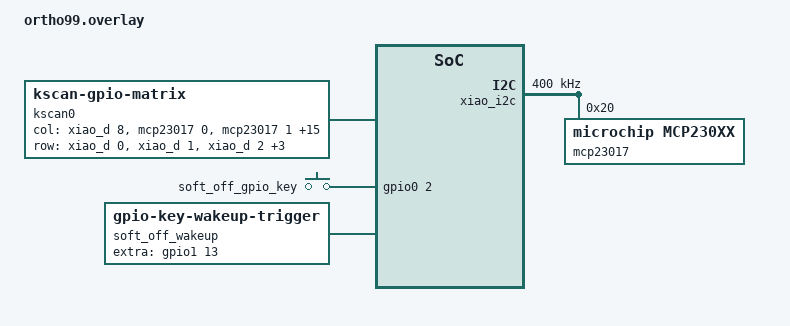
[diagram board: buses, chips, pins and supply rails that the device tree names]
#include <dt-bindings/zmk/matrix_transform.h>
#include <zephyr/dt-bindings/gpio/gpio.h>
#include <zephyr/dt-bindings/i2c/i2c.h>

/ {
    kscan0: kscan0 {
        compatible = "zmk,kscan-gpio-matrix";
        diode-direction = "col2row";
        wakeup-source;

        /*
         * COL0      = XIAO D8
         * COL1-8    = MCP23017 GPA0-7
         * COL9-16   = MCP23017 GPB0-7
         * COL17     = XIAO D9
         */
        col-gpios
            = <&xiao_d 8 GPIO_ACTIVE_HIGH>
            , <&mcp23017 0 GPIO_ACTIVE_HIGH>
            , <&mcp23017 1 GPIO_ACTIVE_HIGH>
            , <&mcp23017 2 GPIO_ACTIVE_HIGH>
            , <&mcp23017 3 GPIO_ACTIVE_HIGH>
            , <&mcp23017 4 GPIO_ACTIVE_HIGH>
            , <&mcp23017 5 GPIO_ACTIVE_HIGH>
            , <&mcp23017 6 GPIO_ACTIVE_HIGH>
            , <&mcp23017 7 GPIO_ACTIVE_HIGH>
            , <&mcp23017 8 GPIO_ACTIVE_HIGH>
            , <&mcp23017 9 GPIO_ACTIVE_HIGH>
            , <&mcp23017 10 GPIO_ACTIVE_HIGH>
            , <&mcp23017 11 GPIO_ACTIVE_HIGH>
            , <&mcp23017 12 GPIO_ACTIVE_HIGH>
            , <&mcp23017 13 GPIO_ACTIVE_HIGH>
            , <&mcp23017 14 GPIO_ACTIVE_HIGH>
            , <&mcp23017 15 GPIO_ACTIVE_HIGH>
            , <&xiao_d 9 GPIO_ACTIVE_HIGH>
            ;

        /*
         * ROW0-3 = XIAO D0-D3
         * ROW4   = XIAO D6
         * ROW5   = XIAO D7
         */
        row-gpios
            = <&xiao_d 0 (GPIO_ACTIVE_HIGH | GPIO_PULL_DOWN)>
            , <&xiao_d 1 (GPIO_ACTIVE_HIGH | GPIO_PULL_DOWN)>
            , <&xiao_d 2 (GPIO_ACTIVE_HIGH | GPIO_PULL_DOWN)>
            , <&xiao_d 3 (GPIO_ACTIVE_HIGH | GPIO_PULL_DOWN)>
            , <&xiao_d 6 (GPIO_ACTIVE_HIGH | GPIO_PULL_DOWN)>
            , <&xiao_d 7 (GPIO_ACTIVE_HIGH | GPIO_PULL_DOWN)>
            ;
    };


    default_transform: keymap_transform0 {
        compatible = "zmk,matrix-transform";

        rows = <6>;
        columns = <18>;

        map = <
            /* 今の99キーのRC(...)はそのまま */
        >;
    };


    /*
     * Soft Off Wake
     *
     * Esc = ROW0 / COL0
     * ROW0 = D0 = P0.02
     * COL0 = D8 = P1.13
     */
    soft_off_keys {
        compatible = "gpio-keys";

        soft_off_gpio_key: soft_off_gpio_key {
            gpios = <&gpio0 2
                (GPIO_ACTIVE_HIGH | GPIO_PULL_DOWN)>;
        };
    };

    soft_off_wakeup: soft_off_wakeup {
        compatible = "zmk,gpio-key-wakeup-trigger";

        trigger = <&soft_off_gpio_key>;
        wakeup-source;

        extra-gpios = <&gpio1 13 GPIO_ACTIVE_HIGH>;
    };

    soft_off_wakers {
        compatible = "zmk,soft-off-wakeup-sources";
        wakeup-sources = <&soft_off_wakeup>;
    };


    chosen {
        zmk,kscan = &kscan0;
        zmk,matrix-transform = &default_transform;
    };
};


/*
 * XIAO nRF52840
 *
 * D4 = SDA
 * D5 = SCL
 */
&xiao_i2c {
    status = "okay";
    clock-frequency = <I2C_BITRATE_FAST>;

    mcp23017: mcp23017@20 {
        compatible = "microchip,mcp230xx";
        reg = <0x20>;

        gpio-controller;
        #gpio-cells = <2>;
        ngpios = <16>;

        status = "okay";
    };
};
